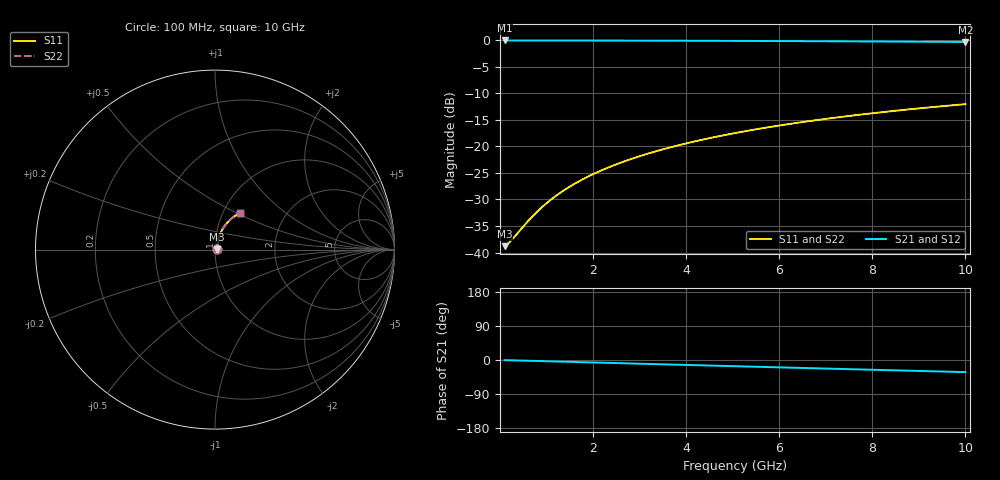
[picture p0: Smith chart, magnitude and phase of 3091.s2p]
# Hz S RI R 50.00
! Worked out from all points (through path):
!   100 points, 100 MHz to 10 GHz, reference 50 ohm
!   highest |S21| = -0.10 dB at 100 MHz (marker M1); lowest = -0.4 dB at 10 GHz (marker M2)
!   group delay of S21, straight-line fit = 8.89 ps
!   lowest |S11| = -38.8 dB at 100 MHz (marker M3), VSWR 1.02, Z = 51.1 + j0.267 ohm
!   |S11| at or under -10 dB: start of sweep to end of sweep
!   |S22| runs from -38.8 to -12.1 dB; largest |S21 - S12| = 0
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1e8  0.0112 0.00261  0.9888 -0.00563  0.9888 -0.00563  0.0112 0.00261
2e8  0.0113 0.00522  0.9887 -0.0113  0.9887 -0.0113  0.0113 0.00522
3e8  0.0114 0.00783  0.9885 -0.0169  0.9885 -0.0169  0.0114 0.00783
5e8  0.0117 0.013  0.9881 -0.0281  0.9881 -0.0281  0.0117 0.013
7e8  0.0122 0.0183  0.9876 -0.0394  0.9876 -0.0394  0.0122 0.0183
8e8  0.0124 0.0208  0.9873 -0.045  0.9873 -0.045  0.0124 0.0208
1e9  0.013 0.026  0.9865 -0.0562  0.9865 -0.0562  0.013 0.026
1.2e9  0.0137 0.0312  0.9856 -0.0674  0.9856 -0.0674  0.0137 0.0312
1.4e9  0.0145 0.0364  0.9846 -0.0786  0.9846 -0.0786  0.0145 0.0364
1.6e9  0.0154 0.0415  0.9834 -0.0897  0.9834 -0.0897  0.0154 0.0415
1.8e9  0.0164 0.0466  0.982 -0.1009  0.982 -0.1009  0.0164 0.0466
2.1e9  0.0182 0.0542  0.9797 -0.1175  0.9797 -0.1175  0.0182 0.0542
2.5e9  0.021 0.0642  0.9761 -0.1396  0.9761 -0.1396  0.021 0.0642
2.9e9  0.0242 0.0741  0.9719 -0.1616  0.9719 -0.1616  0.0242 0.0741
3.4e9  0.0288 0.0862  0.9659 -0.1887  0.9659 -0.1887  0.0288 0.0862
4.2e9  0.0375 0.1049  0.9543 -0.2316  0.9543 -0.2316  0.0375 0.1049
5.1e9  0.0493 0.1249  0.9386 -0.2787  0.9386 -0.2787  0.0493 0.1249
5.9e9  0.0613 0.1414  0.9225 -0.3194  0.9225 -0.3194  0.0613 0.1414
6.7e9  0.0746 0.1567  0.9044 -0.3588  0.9044 -0.3588  0.0746 0.1567
7.5e9  0.0892 0.1707  0.8845 -0.397  0.8845 -0.397  0.0892 0.1707
8.4e9  0.1069 0.1847  0.86 -0.4381  0.86 -0.4381  0.1069 0.1847
1e10  0.141 0.2049  0.8119 -0.5065  0.8119 -0.5065  0.141 0.2049
